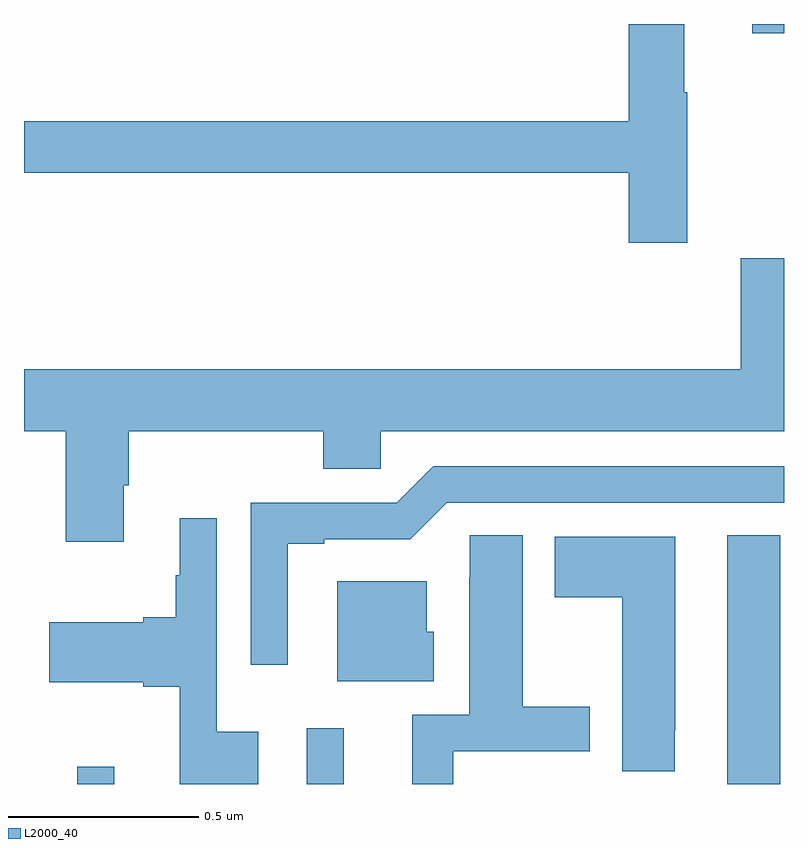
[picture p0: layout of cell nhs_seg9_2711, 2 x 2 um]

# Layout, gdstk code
import gdstk
lib = gdstk.Library(unit=1e-6, precision=1e-09)
def R(c, l, rs):  # rectangles x0, y0, x1, y1
    for r in rs: c.add(gdstk.rectangle(r[:2], r[2:], *l))
def P(c, l, *ps):  # polygons
    for p in ps: c.add(gdstk.Polygon(p, *l))
L2000_40 = (2000, 40)

nhs_seg9_2711 = lib.new_cell('nhs_seg9_2711')
R(nhs_seg9_2711, L2000_40, [(144.14,1187.5,144.238,1187.545), (144.744,1187.5,144.842,1187.647), (145.85,1187.5,145.99,1188.155), (145.916,1189.476,146,1189.5)])
P(nhs_seg9_2711, L2000_40, [(145.746,1189.321),(145.738,1189.321),(145.738,1189.5),(145.592,1189.5),(145.592,1189.244),(144,1189.244),(144,1189.108),(145.592,1189.108),(145.592,1188.924),(145.746,1188.924)],
  [(144.262,1188.286),(144.275,1188.286),(144.275,1188.428),(144.788,1188.428),(144.788,1188.33),(144.939,1188.33),(144.939,1188.428),(146,1188.428),(146,1188.883),(145.886,1188.883),(145.886,1188.592),(144,1188.592),(144,1188.428),(144.11,1188.428),(144.11,1188.138),(144.262,1188.138)],
  [(144.694,1188.132),(144.79,1188.132),(144.79,1188.144),(145.017,1188.144),(145.113,1188.24),(146,1188.24),(146,1188.336),(145.077,1188.336),(144.981,1188.24),(144.597,1188.24),(144.597,1187.814),(144.694,1187.814)],
  [(144.616,1187.638),(144.507,1187.638),(144.507,1188.199),(144.41,1188.199),(144.41,1188.05),(144.399,1188.05),(144.399,1187.939),(144.314,1187.939),(144.314,1187.926),(144.066,1187.926),(144.066,1187.768),(144.314,1187.768),(144.314,1187.756),(144.41,1187.756),(144.41,1187.5),(144.616,1187.5)],
  [(145.13,1187.586),(145.489,1187.586),(145.489,1187.703),(145.312,1187.703),(145.312,1188.155),(145.173,1188.155),(145.173,1188.044),(145.172,1188.044),(145.172,1187.682),(145.022,1187.682),(145.022,1187.5),(145.13,1187.5)],
  [(145.713,1187.641),(145.714,1187.641),(145.714,1188.151),(145.397,1188.151),(145.397,1187.992),(145.574,1187.992),(145.574,1187.533),(145.713,1187.533)],
  [(145.078,1187.901),(145.06,1187.901),(145.06,1188.034),(144.824,1188.034),(144.824,1187.771),(145.078,1187.771)])

lib.write_gds('nhs_seg9_2711.gds')
